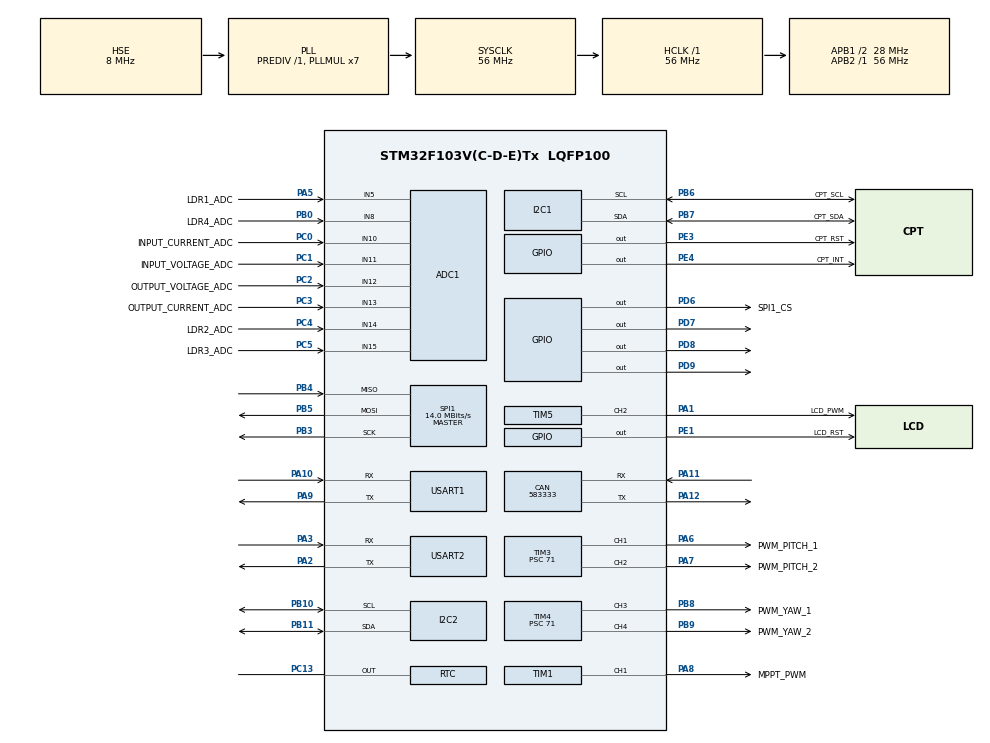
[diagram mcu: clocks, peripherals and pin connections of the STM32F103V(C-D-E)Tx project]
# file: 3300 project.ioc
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ADC1.Channel-10\#ChannelRegularConversion=ADC_CHANNEL_11
ADC1.Channel-11\#ChannelRegularConversion=ADC_CHANNEL_12
ADC1.Channel-12\#ChannelRegularConversion=ADC_CHANNEL_5
ADC1.Channel-13\#ChannelRegularConversion=ADC_CHANNEL_14
ADC1.Channel-14\#ChannelRegularConversion=ADC_CHANNEL_15
ADC1.Channel-15\#ChannelRegularConversion=ADC_CHANNEL_8
ADC1.Channel-2\#ChannelRegularConversion=ADC_CHANNEL_10
ADC1.Channel-3\#ChannelRegularConversion=ADC_CHANNEL_10
ADC1.Channel-4\#ChannelRegularConversion=ADC_CHANNEL_10
ADC1.Channel-5\#ChannelRegularConversion=ADC_CHANNEL_10
ADC1.Channel-6\#ChannelRegularConversion=ADC_CHANNEL_10
ADC1.Channel-7\#ChannelRegularConversion=ADC_CHANNEL_10
ADC1.Channel-8\#ChannelRegularConversion=ADC_CHANNEL_10
ADC1.Channel-9\#ChannelRegularConversion=ADC_CHANNEL_10
ADC1.ExternalTrigConv=ADC_SOFTWARE_START
ADC1.NbrOfConversion=14
ADC1.NbrOfConversionFlag=1
ADC1.Rank-10\#ChannelRegularConversion=9
ADC1.Rank-11\#ChannelRegularConversion=10
ADC1.Rank-12\#ChannelRegularConversion=11
ADC1.Rank-13\#ChannelRegularConversion=12
ADC1.Rank-14\#ChannelRegularConversion=13
ADC1.Rank-15\#ChannelRegularConversion=14
ADC1.Rank-2\#ChannelRegularConversion=1
ADC1.Rank-3\#ChannelRegularConversion=2
ADC1.Rank-4\#ChannelRegularConversion=3
ADC1.Rank-5\#ChannelRegularConversion=4
ADC1.Rank-6\#ChannelRegularConversion=5
ADC1.Rank-7\#ChannelRegularConversion=6
ADC1.Rank-8\#ChannelRegularConversion=7
ADC1.Rank-9\#ChannelRegularConversion=8
ADC1.SamplingTime-10\#ChannelRegularConversion=ADC_SAMPLETIME_28CYCLES_5
ADC1.SamplingTime-11\#ChannelRegularConversion=ADC_SAMPLETIME_1CYCLE_5
ADC1.SamplingTime-12\#ChannelRegularConversion=ADC_SAMPLETIME_1CYCLE_5
ADC1.SamplingTime-13\#ChannelRegularConversion=ADC_SAMPLETIME_1CYCLE_5
ADC1.SamplingTime-14\#ChannelRegularConversion=ADC_SAMPLETIME_1CYCLE_5
ADC1.SamplingTime-15\#ChannelRegularConversion=ADC_SAMPLETIME_1CYCLE_5
ADC1.SamplingTime-2\#ChannelRegularConversion=ADC_SAMPLETIME_1CYCLE_5
ADC1.SamplingTime-3\#ChannelRegularConversion=ADC_SAMPLETIME_1CYCLE_5
ADC1.SamplingTime-4\#ChannelRegularConversion=ADC_SAMPLETIME_1CYCLE_5
ADC1.SamplingTime-5\#ChannelRegularConversion=ADC_SAMPLETIME_1CYCLE_5
ADC1.SamplingTime-6\#ChannelRegularConversion=ADC_SAMPLETIME_1CYCLE_5
ADC1.SamplingTime-7\#ChannelRegularConversion=ADC_SAMPLETIME_1CYCLE_5
ADC1.SamplingTime-8\#ChannelRegularConversion=ADC_SAMPLETIME_1CYCLE_5
ADC1.SamplingTime-9\#ChannelRegularConversion=ADC_SAMPLETIME_1CYCLE_5
ADC1.master=1
CAN.CalculateBaudRate=583333
CAN.CalculateTimeBit=1714
CAN.CalculateTimeQuantum=571.4285714285714
Dma.ADC1.0.Direction=DMA_PERIPH_TO_MEMORY
Dma.ADC1.0.Instance=DMA1_Channel1
Dma.ADC1.0.MemDataAlignment=DMA_MDATAALIGN_HALFWORD
Dma.ADC1.0.MemInc=DMA_MINC_ENABLE
Dma.ADC1.0.Mode=DMA_CIRCULAR
Dma.ADC1.0.PeriphDataAlignment=DMA_PDATAALIGN_HALFWORD
Dma.ADC1.0.PeriphInc=DMA_PINC_DISABLE
Dma.ADC1.0.Priority=DMA_PRIORITY_LOW
Dma.Request0=ADC1
Mcu.Family=STM32F1
Mcu.Name=STM32F103V(C-D-E)Tx
Mcu.Package=LQFP100
NVIC.ADC1_2_IRQn=true\:0\:0\:false\:false\:true\:true\:true\:true
NVIC.DMA1_Channel1_IRQn=true\:0\:0\:false\:false\:true\:false\:true\:true
NVIC.PriorityGroup=NVIC_PRIORITYGROUP_4
NVIC.TIM1_CC_IRQn=true\:2\:0\:true\:false\:true\:true\:true\:true
OSC_IN.Mode=HSE-External-Oscillator
OSC_IN.Signal=RCC_OSC_IN
OSC_OUT.Mode=HSE-External-Oscillator
OSC_OUT.Signal=RCC_OSC_OUT
PA1.GPIO_Label=LCD_PWM
PA1.GPIO_Speed=GPIO_SPEED_FREQ_HIGH
PA1.Signal=S_TIM5_CH2
PA10.Mode=Asynchronous
PA10.Signal=USART1_RX
PA11.Mode=CAN_Activate
PA11.Signal=CAN_RX
PA12.Mode=CAN_Activate
PA12.Signal=CAN_TX
PA13.Mode=Serial_Wire
PA13.Signal=SYS_JTMS-SWDIO
PA14.Mode=Serial_Wire
PA14.Signal=SYS_JTCK-SWCLK
PA2.Mode=Asynchronous
PA2.Signal=USART2_TX
PA3.Mode=Asynchronous
PA3.Signal=USART2_RX
PA5.GPIO_Label=LDR1_ADC
PA5.Signal=ADCx_IN5
PA6.GPIO_Label=PWM_PITCH_1
PA6.Signal=S_TIM3_CH1
PA7.GPIO_Label=PWM_PITCH_2
PA7.Signal=S_TIM3_CH2
PA8.GPIO_Label=MPPT_PWM
PA8.GPIO_Speed=GPIO_SPEED_FREQ_HIGH
PA8.Signal=S_TIM1_CH1
PA9.Mode=Asynchronous
PA9.Signal=USART1_TX
PB0.GPIO_Label=LDR4_ADC
PB0.Signal=ADCx_IN8
PB10.Mode=I2C
PB10.Signal=I2C2_SCL
PB11.Mode=I2C
PB11.Signal=I2C2_SDA
PB3.Mode=Full_Duplex_Master
PB3.Signal=SPI1_SCK
PB4.Mode=Full_Duplex_Master
PB4.Signal=SPI1_MISO
PB5.Mode=Full_Duplex_Master
PB5.Signal=SPI1_MOSI
PB6.GPIO_Label=CPT_SCL
PB6.Mode=I2C
PB6.Signal=I2C1_SCL
PB7.GPIO_Label=CPT_SDA
PB7.Mode=I2C
PB7.Signal=I2C1_SDA
PB8.GPIO_Label=PWM_YAW_1
PB8.Signal=S_TIM4_CH3
PB9.GPIO_Label=PWM_YAW_2
PB9.Signal=S_TIM4_CH4
PC0.GPIO_Label=INPUT_CURRENT_ADC
PC0.Signal=ADCx_IN10
PC1.GPIO_Label=INPUT_VOLTAGE_ADC
PC1.Signal=ADCx_IN11
PC13-TAMPER-RTC.Mode=RTC OUT
PC13-TAMPER-RTC.Signal=RTC_OUT
PC2.GPIO_Label=OUTPUT_VOLTAGE_ADC
PC2.Signal=ADCx_IN12
PC3.GPIO_Label=OUTPUT_CURRENT_ADC
PC3.Signal=ADCx_IN13
PC4.GPIO_Label=LDR2_ADC
PC4.Signal=ADCx_IN14
PC5.GPIO_Label=LDR3_ADC
PC5.Signal=ADCx_IN15
PD6.GPIO_Label=SPI1_CS
PD6.Signal=GPIO_Output
PD7.Signal=GPIO_Output
PD8.Signal=GPIO_Output
PD9.Signal=GPIO_Output
PE1.GPIO_Label=LCD_RST
PE1.Signal=GPIO_Output
PE3.GPIO_Label=CPT_RST
PE3.Signal=GPIO_Output
PE4.GPIO_Label=CPT_INT
PE4.Signal=GPIO_Output
ProjectManager.HeapSize=0x200
ProjectManager.StackSize=0x400
ProjectManager.TargetToolchain=STM32CubeIDE
RCC.ADCPresc=RCC_ADCPCLK2_DIV4
RCC.AHBFreq_Value=56000000
RCC.APB1CLKDivider=RCC_HCLK_DIV2
RCC.APB1Freq_Value=28000000
RCC.APB1TimFreq_Value=56000000
RCC.APB2Freq_Value=56000000
RCC.APB2TimFreq_Value=56000000
RCC.HCLKFreq_Value=56000000
RCC.PLLMUL=RCC_PLL_MUL7
RCC.PLLSourceVirtual=RCC_PLLSOURCE_HSE
RCC.RTCClockSelection=RCC_RTCCLKSOURCE_HSE_DIV128
RCC.SYSCLKFreq_VALUE=56000000
RCC.SYSCLKSource=RCC_SYSCLKSOURCE_PLLCLK
RCC.USBFreq_Value=56000000
SH.ADCx_IN10.0=ADC1_IN10,IN10
SH.ADCx_IN10.1=ADC2_IN10
SH.ADCx_IN11.0=ADC1_IN11,IN11
SH.ADCx_IN12.0=ADC1_IN12,IN12
SH.ADCx_IN13.0=ADC1_IN13,IN13
SH.ADCx_IN14.0=ADC1_IN14,IN14
SH.ADCx_IN15.0=ADC1_IN15,IN15
SH.ADCx_IN5.0=ADC1_IN5,IN5
SH.ADCx_IN8.0=ADC1_IN8,IN8
SH.S_TIM1_CH1.0=TIM1_CH1,PWM Generation1 CH1
SH.S_TIM3_CH1.0=TIM3_CH1,PWM Generation1 CH1
SH.S_TIM3_CH2.0=TIM3_CH2,PWM Generation2 CH2
SH.S_TIM4_CH3.0=TIM4_CH3,PWM Generation3 CH3
SH.S_TIM4_CH4.0=TIM4_CH4,PWM Generation4 CH4
SH.S_TIM5_CH2.0=TIM5_CH2,PWM Generation2 CH2
SPI1.BaudRatePrescaler=SPI_BAUDRATEPRESCALER_4
SPI1.CalculateBaudRate=14.0 MBits/s
SPI1.Direction=SPI_DIRECTION_2LINES
SPI1.Mode=SPI_MODE_MASTER
SPI1.VirtualType=VM_MASTER
TIM1.Channel-Output\ Compare2\ No\ Output=TIM_CHANNEL_2
TIM1.Channel-PWM\ Generation1\ CH1=TIM_CHANNEL_1
TIM1.OCFastMode_PWM-PWM\ Generation1\ CH1=TIM_OCFAST_ENABLE
TIM1.OCMode_2=TIM_OCMODE_TIMING
TIM1.Period=99
TIM1.Prescaler=5
TIM1.Pulse-Output\ Compare2\ No\ Output=50
TIM1.TIM_MasterOutputTrigger=TIM_TRGO_RESET
TIM1.TIM_MasterSlaveMode=TIM_MASTERSLAVEMODE_DISABLE
TIM3.Channel-PWM\ Generation1\ CH1=TIM_CHANNEL_1
TIM3.Channel-PWM\ Generation2\ CH2=TIM_CHANNEL_2
TIM3.Period=99
TIM3.Prescaler=71
TIM3.Pulse-PWM\ Generation1\ CH1=0
TIM4.Channel-PWM\ Generation3\ CH3=TIM_CHANNEL_3
TIM4.Channel-PWM\ Generation4\ CH4=TIM_CHANNEL_4
TIM4.Period=99
TIM4.Prescaler=71
TIM4.Pulse-PWM\ Generation3\ CH3=0
TIM4.Pulse-PWM\ Generation4\ CH4=0
TIM5.Channel-PWM\ Generation2\ CH2=TIM_CHANNEL_2
USART1.VirtualMode=VM_ASYNC
USART2.VirtualMode=VM_ASYNC
VP_RTC_VS_RTC_Activate.Mode=RTC_Enabled
VP_RTC_VS_RTC_Calendar.Mode=RTC_Calendar
VP_TIM1_VS_ClockSourceINT.Mode=Internal
VP_TIM1_VS_no_output2.Mode=Output Compare2 No Output
VP_TIM2_VS_ClockSourceINT.Mode=Internal
VP_TIM3_VS_ClockSourceINT.Mode=Internal
VP_TIM4_VS_ClockSourceINT.Mode=Internal
VP_TIM5_VS_ClockSourceINT.Mode=Internal
board=custom

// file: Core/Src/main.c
/* USER CODE BEGIN Header */
/**
  ******************************************************************************
  * @file           : main.c
  * @brief          : Main program body
  ******************************************************************************
  * @attention
  *
  * Copyright (c) 2024 STMicroelectronics.
  * All rights reserved.
  *
  * This software is licensed under terms that can be found in the LICENSE file
  * in the root directory of this software component.
  * If no LICENSE file comes with this software, it is provided AS-IS.
  *
  ******************************************************************************
  */
/* USER CODE END Header */
#include "main.h"

/* USER CODE BEGIN Includes */
#include "mppt.h"
#include "solar_tracker.h"
#include "ssd1306.h"
#include "ssd1306_fonts.h"
/* USER CODE END Includes */

ADC_HandleTypeDef hadc1;
DMA_HandleTypeDef hdma_adc1;

CAN_HandleTypeDef hcan;

I2C_HandleTypeDef hi2c1;
I2C_HandleTypeDef hi2c2;

RTC_HandleTypeDef hrtc;

SPI_HandleTypeDef hspi1;

TIM_HandleTypeDef htim1;
TIM_HandleTypeDef htim2;
TIM_HandleTypeDef htim3;
TIM_HandleTypeDef htim4;
TIM_HandleTypeDef htim5;

UART_HandleTypeDef huart1;
UART_HandleTypeDef huart2;

/* USER CODE BEGIN PV */
uint32_t tickstart;
volatile uint16_t adc_data[14];
long long CUR_IN;
int16_t LDR_val[4];
/* USER CODE END PV */

void SystemClock_Config(void);
static void MX_GPIO_Init(void);
static void MX_DMA_Init(void);
static void MX_I2C1_Init(void);
static void MX_SPI1_Init(void);
static void MX_TIM2_Init(void);
static void MX_USART1_UART_Init(void);
static void MX_USART2_UART_Init(void);
static void MX_ADC1_Init(void);
static void MX_RTC_Init(void);
static void MX_TIM1_Init(void);
static void MX_TIM5_Init(void);
static void MX_CAN_Init(void);
static void MX_TIM3_Init(void);
static void MX_TIM4_Init(void);
static void MX_I2C2_Init(void);

int main(void)
{

  /* MCU Configuration--------------------------------------------------------*/

  /* Reset of all peripherals, Initializes the Flash interface and the Systick. */
  HAL_Init();

  /* Configure the system clock */
  SystemClock_Config();

  /* Initialize all configured peripherals */
  MX_GPIO_Init();
  MX_DMA_Init();
  MX_I2C1_Init();
  MX_SPI1_Init();
  MX_TIM2_Init();
  MX_USART1_UART_Init();
  MX_USART2_UART_Init();
  MX_ADC1_Init();
  MX_RTC_Init();
  MX_TIM1_Init();
  MX_TIM5_Init();
  MX_CAN_Init();
  MX_TIM3_Init();
  MX_TIM4_Init();
  MX_I2C2_Init();
  /* USER CODE BEGIN 2 */
  HAL_TIM_PWM_Start(&htim1, TIM_CHANNEL_1);
  HAL_TIM_PWM_Start(&htim3, TIM_CHANNEL_1);
  HAL_TIM_PWM_Start(&htim3, TIM_CHANNEL_2);
  HAL_TIM_PWM_Start(&htim4, TIM_CHANNEL_3);
  HAL_TIM_PWM_Start(&htim4, TIM_CHANNEL_4);
  HAL_TIM_OC_Start_IT(&htim1, TIM_CHANNEL_2);
  // TIM1->CCR1 = 5;
  // int counter = 0;
  // while (1) {
  //   TIM1->CCR1 = counter++;
  //   counter %= 30;
  // }
  ssd1306_Init();
  ssd1306_Fill(White);
  ssd1306_SetCursor(2,0);
  ssd1306_WriteString("ELEC3300 Solar", Font_6x8, Black);
  ssd1306_SetCursor(2, 18*2);
  ssd1306_WriteString("Group 12", Font_6x8, Black);
  ssd1306_UpdateScreen();
  HAL_Delay(1000);
  /* USER CODE END 2 */

  /* Infinite loop */
  /* USER CODE BEGIN WHILE */
  while (1)
  {
    HAL_ADC_Start_DMA(&hadc1, (uint32_t *)adc_data, 14);
    // HAL_Delay(2);
    // ssd1306_SetCursor(2, 18);
    // ssd1306_WriteString(message, Font_6x8, Black);
    // ssd1306_UpdateScreen();
    tickstart = HAL_GetTick();
    while ((HAL_GetTick() - tickstart) < 2)
    {
    }
    HAL_GPIO_WritePin(GPIOD, GPIO_PIN_7, GPIO_PIN_RESET);
    ssd1306_Fill(White);
    ssd1306_UpdateScreen();
    /* USER CODE END WHILE */

  }
}

void SystemClock_Config(void)
{
  RCC_OscInitTypeDef RCC_OscInitStruct = {0};
  RCC_ClkInitTypeDef RCC_ClkInitStruct = {0};
  RCC_PeriphCLKInitTypeDef PeriphClkInit = {0};

  /** Initializes the RCC Oscillators according to the specified parameters
  * in the RCC_OscInitTypeDef structure.
  */
  RCC_OscInitStruct.OscillatorType = RCC_OSCILLATORTYPE_HSE;
  RCC_OscInitStruct.HSEState = RCC_HSE_ON;
  RCC_OscInitStruct.HSEPredivValue = RCC_HSE_PREDIV_DIV1;
  RCC_OscInitStruct.HSIState = RCC_HSI_ON;
  RCC_OscInitStruct.PLL.PLLState = RCC_PLL_ON;
  RCC_OscInitStruct.PLL.PLLSource = RCC_PLLSOURCE_HSE;
  RCC_OscInitStruct.PLL.PLLMUL = RCC_PLL_MUL7;
  if (HAL_RCC_OscConfig(&RCC_OscInitStruct) != HAL_OK)
  {
    Error_Handler();
  }

  /** Initializes the CPU, AHB and APB buses clocks
  */
  RCC_ClkInitStruct.ClockType = RCC_CLOCKTYPE_HCLK|RCC_CLOCKTYPE_SYSCLK
                              |RCC_CLOCKTYPE_PCLK1|RCC_CLOCKTYPE_PCLK2;
  RCC_ClkInitStruct.SYSCLKSource = RCC_SYSCLKSOURCE_PLLCLK;
  RCC_ClkInitStruct.AHBCLKDivider = RCC_SYSCLK_DIV1;
  RCC_ClkInitStruct.APB1CLKDivider = RCC_HCLK_DIV2;
  RCC_ClkInitStruct.APB2CLKDivider = RCC_HCLK_DIV1;

  if (HAL_RCC_ClockConfig(&RCC_ClkInitStruct, FLASH_LATENCY_2) != HAL_OK)
  {
    Error_Handler();
  }
  PeriphClkInit.PeriphClockSelection = RCC_PERIPHCLK_RTC|RCC_PERIPHCLK_ADC;
  PeriphClkInit.RTCClockSelection = RCC_RTCCLKSOURCE_HSE_DIV128;
  PeriphClkInit.AdcClockSelection = RCC_ADCPCLK2_DIV4;
  if (HAL_RCCEx_PeriphCLKConfig(&PeriphClkInit) != HAL_OK)
  {
    Error_Handler();
  }
}

static void MX_ADC1_Init(void)
{

  ADC_ChannelConfTypeDef sConfig = {0};

  /** Common config
  */
  hadc1.Instance = ADC1;
  hadc1.Init.ScanConvMode = ADC_SCAN_ENABLE;
  hadc1.Init.ContinuousConvMode = DISABLE;
  hadc1.Init.DiscontinuousConvMode = DISABLE;
  hadc1.Init.ExternalTrigConv = ADC_SOFTWARE_START;
  hadc1.Init.DataAlign = ADC_DATAALIGN_RIGHT;
  hadc1.Init.NbrOfConversion = 14;
  if (HAL_ADC_Init(&hadc1) != HAL_OK)
  {
    Error_Handler();
  }

  /** Configure Regular Channel
  */
  sConfig.Channel = ADC_CHANNEL_10;
  sConfig.Rank = ADC_REGULAR_RANK_1;
  sConfig.SamplingTime = ADC_SAMPLETIME_1CYCLE_5;
  if (HAL_ADC_ConfigChannel(&hadc1, &sConfig) != HAL_OK)
  {
    Error_Handler();
  }

  /** Configure Regular Channel
  */
  sConfig.Rank = ADC_REGULAR_RANK_2;
  if (HAL_ADC_ConfigChannel(&hadc1, &sConfig) != HAL_OK)
  {
    Error_Handler();
  }

  /** Configure Regular Channel
  */
  sConfig.Rank = ADC_REGULAR_RANK_3;
  if (HAL_ADC_ConfigChannel(&hadc1, &sConfig) != HAL_OK)
  {
    Error_Handler();
  }

  /** Configure Regular Channel
  */
  sConfig.Rank = ADC_REGULAR_RANK_4;
  if (HAL_ADC_ConfigChannel(&hadc1, &sConfig) != HAL_OK)
  {
    Error_Handler();
  }

  /** Configure Regular Channel
  */
  sConfig.Rank = ADC_REGULAR_RANK_5;
  if (HAL_ADC_ConfigChannel(&hadc1, &sConfig) != HAL_OK)
  {
    Error_Handler();
  }

  /** Configure Regular Channel
  */
  sConfig.Rank = ADC_REGULAR_RANK_6;
  if (HAL_ADC_ConfigChannel(&hadc1, &sConfig) != HAL_OK)
  {
    Error_Handler();
  }

  /** Configure Regular Channel
  */
  sConfig.Rank = ADC_REGULAR_RANK_7;
  if (HAL_ADC_ConfigChannel(&hadc1, &sConfig) != HAL_OK)
  {
    Error_Handler();
  }

  /** Configure Regular Channel
  */
  sConfig.Rank = ADC_REGULAR_RANK_8;
  if (HAL_ADC_ConfigChannel(&hadc1, &sConfig) != HAL_OK)
  {
    Error_Handler();
  }

  /** Configure Regular Channel
  */
  sConfig.Channel = ADC_CHANNEL_11;
  sConfig.Rank = ADC_REGULAR_RANK_9;
  sConfig.SamplingTime = ADC_SAMPLETIME_28CYCLES_5;
  if (HAL_ADC_ConfigChannel(&hadc1, &sConfig) != HAL_OK)
  {
    Error_Handler();
  }

  /** Configure Regular Channel
  */
  sConfig.Channel = ADC_CHANNEL_12;
  sConfig.Rank = ADC_REGULAR_RANK_10;
  sConfig.SamplingTime = ADC_SAMPLETIME_1CYCLE_5;
  if (HAL_ADC_ConfigChannel(&hadc1, &sConfig) != HAL_OK)
  {
    Error_Handler();
  }

  /** Configure Regular Channel
  */
  sConfig.Channel = ADC_CHANNEL_5;
  sConfig.Rank = ADC_REGULAR_RANK_11;
  if (HAL_ADC_ConfigChannel(&hadc1, &sConfig) != HAL_OK)
  {
    Error_Handler();
  }

  /** Configure Regular Channel
  */
  sConfig.Channel = ADC_CHANNEL_14;
  sConfig.Rank = ADC_REGULAR_RANK_12;
  if (HAL_ADC_ConfigChannel(&hadc1, &sConfig) != HAL_OK)
  {
    Error_Handler();
  }

  /** Configure Regular Channel
  */
  sConfig.Channel = ADC_CHANNEL_15;
  sConfig.Rank = ADC_REGULAR_RANK_13;
  if (HAL_ADC_ConfigChannel(&hadc1, &sConfig) != HAL_OK)
  {
    Error_Handler();
  }

  /** Configure Regular Channel
  */
  sConfig.Channel = ADC_CHANNEL_8;
  sConfig.Rank = ADC_REGULAR_RANK_14;
  if (HAL_ADC_ConfigChannel(&hadc1, &sConfig) != HAL_OK)
  {
    Error_Handler();
  }

}

static void MX_CAN_Init(void)
{

  hcan.Instance = CAN1;
  hcan.Init.Prescaler = 16;
  hcan.Init.Mode = CAN_MODE_NORMAL;
  hcan.Init.SyncJumpWidth = CAN_SJW_1TQ;
  hcan.Init.TimeSeg1 = CAN_BS1_1TQ;
  hcan.Init.TimeSeg2 = CAN_BS2_1TQ;
  hcan.Init.TimeTriggeredMode = DISABLE;
  hcan.Init.AutoBusOff = DISABLE;
  hcan.Init.AutoWakeUp = DISABLE;
  hcan.Init.AutoRetransmission = DISABLE;
  hcan.Init.ReceiveFifoLocked = DISABLE;
  hcan.Init.TransmitFifoPriority = DISABLE;
  if (HAL_CAN_Init(&hcan) != HAL_OK)
  {
    Error_Handler();
  }

}

static void MX_I2C1_Init(void)
{

  hi2c1.Instance = I2C1;
  hi2c1.Init.ClockSpeed = 100000;
  hi2c1.Init.DutyCycle = I2C_DUTYCYCLE_2;
  hi2c1.Init.OwnAddress1 = 0;
  hi2c1.Init.AddressingMode = I2C_ADDRESSINGMODE_7BIT;
  hi2c1.Init.DualAddressMode = I2C_DUALADDRESS_DISABLE;
  hi2c1.Init.OwnAddress2 = 0;
  hi2c1.Init.GeneralCallMode = I2C_GENERALCALL_DISABLE;
  hi2c1.Init.NoStretchMode = I2C_NOSTRETCH_DISABLE;
  if (HAL_I2C_Init(&hi2c1) != HAL_OK)
  {
    Error_Handler();
  }

}

static void MX_I2C2_Init(void)
{

  hi2c2.Instance = I2C2;
  hi2c2.Init.ClockSpeed = 100000;
  hi2c2.Init.DutyCycle = I2C_DUTYCYCLE_2;
  hi2c2.Init.OwnAddress1 = 0;
  hi2c2.Init.AddressingMode = I2C_ADDRESSINGMODE_7BIT;
  hi2c2.Init.DualAddressMode = I2C_DUALADDRESS_DISABLE;
  hi2c2.Init.OwnAddress2 = 0;
  hi2c2.Init.GeneralCallMode = I2C_GENERALCALL_DISABLE;
  hi2c2.Init.NoStretchMode = I2C_NOSTRETCH_DISABLE;
  if (HAL_I2C_Init(&hi2c2) != HAL_OK)
  {
    Error_Handler();
  }

}

static void MX_RTC_Init(void)
{

  RTC_TimeTypeDef sTime = {0};
  RTC_DateTypeDef DateToUpdate = {0};
  RTC_AlarmTypeDef sAlarm = {0};

  /** Initialize RTC Only
  */
  hrtc.Instance = RTC;
  hrtc.Init.AsynchPrediv = RTC_AUTO_1_SECOND;
  hrtc.Init.OutPut = RTC_OUTPUTSOURCE_ALARM;
  if (HAL_RTC_Init(&hrtc) != HAL_OK)
  {
    Error_Handler();
  }

  /** Initialize RTC and set the Time and Date
  */
  sTime.Hours = 0x0;
  sTime.Minutes = 0x0;
  sTime.Seconds = 0x0;

  if (HAL_RTC_SetTime(&hrtc, &sTime, RTC_FORMAT_BCD) != HAL_OK)
  {
    Error_Handler();
  }
  DateToUpdate.WeekDay = RTC_WEEKDAY_MONDAY;
  DateToUpdate.Month = RTC_MONTH_JANUARY;
  DateToUpdate.Date = 0x1;
  DateToUpdate.Year = 0x0;

  if (HAL_RTC_SetDate(&hrtc, &DateToUpdate, RTC_FORMAT_BCD) != HAL_OK)
  {
    Error_Handler();
  }

  /** Enable the Alarm A
  */
  sAlarm.AlarmTime.Hours = 0x0;
  sAlarm.AlarmTime.Minutes = 0x0;
  sAlarm.AlarmTime.Seconds = 0x0;
  sAlarm.Alarm = RTC_ALARM_A;
  if (HAL_RTC_SetAlarm(&hrtc, &sAlarm, RTC_FORMAT_BCD) != HAL_OK)
  {
    Error_Handler();
  }

}

static void MX_SPI1_Init(void)
{

  /* SPI1 parameter configuration*/
  hspi1.Instance = SPI1;
  hspi1.Init.Mode = SPI_MODE_MASTER;
  hspi1.Init.Direction = SPI_DIRECTION_2LINES;
  hspi1.Init.DataSize = SPI_DATASIZE_8BIT;
  hspi1.Init.CLKPolarity = SPI_POLARITY_LOW;
  hspi1.Init.CLKPhase = SPI_PHASE_1EDGE;
  hspi1.Init.NSS = SPI_NSS_SOFT;
  hspi1.Init.BaudRatePrescaler = SPI_BAUDRATEPRESCALER_4;
  hspi1.Init.FirstBit = SPI_FIRSTBIT_MSB;
  hspi1.Init.TIMode = SPI_TIMODE_DISABLE;
  hspi1.Init.CRCCalculation = SPI_CRCCALCULATION_DISABLE;
  hspi1.Init.CRCPolynomial = 10;
  if (HAL_SPI_Init(&hspi1) != HAL_OK)
  {
    Error_Handler();
  }

}

static void MX_TIM1_Init(void)
{

  TIM_ClockConfigTypeDef sClockSourceConfig = {0};
  TIM_MasterConfigTypeDef sMasterConfig = {0};
  TIM_OC_InitTypeDef sConfigOC = {0};
  TIM_BreakDeadTimeConfigTypeDef sBreakDeadTimeConfig = {0};

  htim1.Instance = TIM1;
  htim1.Init.Prescaler = 5;
  htim1.Init.CounterMode = TIM_COUNTERMODE_UP;
  htim1.Init.Period = 99;
  htim1.Init.ClockDivision = TIM_CLOCKDIVISION_DIV1;
  htim1.Init.RepetitionCounter = 0;
  htim1.Init.AutoReloadPreload = TIM_AUTORELOAD_PRELOAD_DISABLE;
  if (HAL_TIM_Base_Init(&htim1) != HAL_OK)
  {
    Error_Handler();
  }
  sClockSourceConfig.ClockSource = TIM_CLOCKSOURCE_INTERNAL;
  if (HAL_TIM_ConfigClockSource(&htim1, &sClockSourceConfig) != HAL_OK)
  {
    Error_Handler();
  }
  if (HAL_TIM_PWM_Init(&htim1) != HAL_OK)
  {
    Error_Handler();
  }
  if (HAL_TIM_OC_Init(&htim1) != HAL_OK)
  {
    Error_Handler();
  }
  sMasterConfig.MasterOutputTrigger = TIM_TRGO_RESET;
  sMasterConfig.MasterSlaveMode = TIM_MASTERSLAVEMODE_DISABLE;
  if (HAL_TIMEx_MasterConfigSynchronization(&htim1, &sMasterConfig) != HAL_OK)
  {
    Error_Handler();
  }
  sConfigOC.OCMode = TIM_OCMODE_PWM1;
  sConfigOC.Pulse = 0;
  sConfigOC.OCPolarity = TIM_OCPOLARITY_HIGH;
  sConfigOC.OCNPolarity = TIM_OCNPOLARITY_HIGH;
  sConfigOC.OCFastMode = TIM_OCFAST_ENABLE;
  sConfigOC.OCIdleState = TIM_OCIDLESTATE_RESET;
  sConfigOC.OCNIdleState = TIM_OCNIDLESTATE_RESET;
  if (HAL_TIM_PWM_ConfigChannel(&htim1, &sConfigOC, TIM_CHANNEL_1) != HAL_OK)
  {
    Error_Handler();
  }
  sConfigOC.OCMode = TIM_OCMODE_TIMING;
  sConfigOC.Pulse = 50;
  sConfigOC.OCFastMode = TIM_OCFAST_DISABLE;
  if (HAL_TIM_OC_ConfigChannel(&htim1, &sConfigOC, TIM_CHANNEL_2) != HAL_OK)
  {
    Error_Handler();
  }
  sBreakDeadTimeConfig.OffStateRunMode = TIM_OSSR_DISABLE;
  sBreakDeadTimeConfig.OffStateIDLEMode = TIM_OSSI_DISABLE;
  sBreakDeadTimeConfig.LockLevel = TIM_LOCKLEVEL_OFF;
  sBreakDeadTimeConfig.DeadTime = 0;
  sBreakDeadTimeConfig.BreakState = TIM_BREAK_DISABLE;
  sBreakDeadTimeConfig.BreakPolarity = TIM_BREAKPOLARITY_HIGH;
  sBreakDeadTimeConfig.AutomaticOutput = TIM_AUTOMATICOUTPUT_DISABLE;
  if (HAL_TIMEx_ConfigBreakDeadTime(&htim1, &sBreakDeadTimeConfig) != HAL_OK)
  {
    Error_Handler();
  }
  HAL_TIM_MspPostInit(&htim1);

}

static void MX_TIM2_Init(void)
{

  TIM_ClockConfigTypeDef sClockSourceConfig = {0};
  TIM_MasterConfigTypeDef sMasterConfig = {0};

  htim2.Instance = TIM2;
  htim2.Init.Prescaler = 0;
  htim2.Init.CounterMode = TIM_COUNTERMODE_UP;
  htim2.Init.Period = 65535;
  htim2.Init.ClockDivision = TIM_CLOCKDIVISION_DIV1;
  htim2.Init.AutoReloadPreload = TIM_AUTORELOAD_PRELOAD_DISABLE;
  if (HAL_TIM_Base_Init(&htim2) != HAL_OK)
  {
    Error_Handler();
  }
  sClockSourceConfig.ClockSource = TIM_CLOCKSOURCE_INTERNAL;
  if (HAL_TIM_ConfigClockSource(&htim2, &sClockSourceConfig) != HAL_OK)
  {
    Error_Handler();
  }
  sMasterConfig.MasterOutputTrigger = TIM_TRGO_RESET;
  sMasterConfig.MasterSlaveMode = TIM_MASTERSLAVEMODE_DISABLE;
  if (HAL_TIMEx_MasterConfigSynchronization(&htim2, &sMasterConfig) != HAL_OK)
  {
    Error_Handler();
  }

}

static void MX_TIM3_Init(void)
{

  TIM_ClockConfigTypeDef sClockSourceConfig = {0};
  TIM_MasterConfigTypeDef sMasterConfig = {0};
  TIM_OC_InitTypeDef sConfigOC = {0};

  htim3.Instance = TIM3;
  htim3.Init.Prescaler = 71;
  htim3.Init.CounterMode = TIM_COUNTERMODE_UP;
  htim3.Init.Period = 99;
  htim3.Init.ClockDivision = TIM_CLOCKDIVISION_DIV1;
  htim3.Init.AutoReloadPreload = TIM_AUTORELOAD_PRELOAD_DISABLE;
  if (HAL_TIM_Base_Init(&htim3) != HAL_OK)
  {
    Error_Handler();
  }
  sClockSourceConfig.ClockSource = TIM_CLOCKSOURCE_INTERNAL;
  if (HAL_TIM_ConfigClockSource(&htim3, &sClockSourceConfig) != HAL_OK)
  {
    Error_Handler();
  }
  if (HAL_TIM_PWM_Init(&htim3) != HAL_OK)
  {
    Error_Handler();
  }
  sMasterConfig.MasterOutputTrigger = TIM_TRGO_RESET;
  sMasterConfig.MasterSlaveMode = TIM_MASTERSLAVEMODE_DISABLE;
  if (HAL_TIMEx_MasterConfigSynchronization(&htim3, &sMasterConfig) != HAL_OK)
  {
    Error_Handler();
  }
  sConfigOC.OCMode = TIM_OCMODE_PWM1;
  sConfigOC.Pulse = 0;
  sConfigOC.OCPolarity = TIM_OCPOLARITY_HIGH;
  sConfigOC.OCFastMode = TIM_OCFAST_DISABLE;
  if (HAL_TIM_PWM_ConfigChannel(&htim3, &sConfigOC, TIM_CHANNEL_1) != HAL_OK)
  {
    Error_Handler();
  }
  if (HAL_TIM_PWM_ConfigChannel(&htim3, &sConfigOC, TIM_CHANNEL_2) != HAL_OK)
  {
    Error_Handler();
  }
  HAL_TIM_MspPostInit(&htim3);

}

static void MX_TIM4_Init(void)
{

  TIM_ClockConfigTypeDef sClockSourceConfig = {0};
  TIM_MasterConfigTypeDef sMasterConfig = {0};
  TIM_OC_InitTypeDef sConfigOC = {0};

  htim4.Instance = TIM4;
  htim4.Init.Prescaler = 71;
  htim4.Init.CounterMode = TIM_COUNTERMODE_UP;
  htim4.Init.Period = 99;
  htim4.Init.ClockDivision = TIM_CLOCKDIVISION_DIV1;
  htim4.Init.AutoReloadPreload = TIM_AUTORELOAD_PRELOAD_DISABLE;
  if (HAL_TIM_Base_Init(&htim4) != HAL_OK)
  {
    Error_Handler();
  }
  sClockSourceConfig.ClockSource = TIM_CLOCKSOURCE_INTERNAL;
  if (HAL_TIM_ConfigClockSource(&htim4, &sClockSourceConfig) != HAL_OK)
  {
    Error_Handler();
  }
  if (HAL_TIM_PWM_Init(&htim4) != HAL_OK)
  {
    Error_Handler();
  }
  sMasterConfig.MasterOutputTrigger = TIM_TRGO_RESET;
  sMasterConfig.MasterSlaveMode = TIM_MASTERSLAVEMODE_DISABLE;
  if (HAL_TIMEx_MasterConfigSynchronization(&htim4, &sMasterConfig) != HAL_OK)
  {
    Error_Handler();
  }
  sConfigOC.OCMode = TIM_OCMODE_PWM1;
  sConfigOC.Pulse = 0;
  sConfigOC.OCPolarity = TIM_OCPOLARITY_HIGH;
  sConfigOC.OCFastMode = TIM_OCFAST_DISABLE;
  if (HAL_TIM_PWM_ConfigChannel(&htim4, &sConfigOC, TIM_CHANNEL_3) != HAL_OK)
  {
    Error_Handler();
  }
  if (HAL_TIM_PWM_ConfigChannel(&htim4, &sConfigOC, TIM_CHANNEL_4) != HAL_OK)
  {
    Error_Handler();
  }
  HAL_TIM_MspPostInit(&htim4);

}

static void MX_TIM5_Init(void)
{

  TIM_ClockConfigTypeDef sClockSourceConfig = {0};
  TIM_MasterConfigTypeDef sMasterConfig = {0};
  TIM_OC_InitTypeDef sConfigOC = {0};

  htim5.Instance = TIM5;
  htim5.Init.Prescaler = 0;
  htim5.Init.CounterMode = TIM_COUNTERMODE_UP;
  htim5.Init.Period = 65535;
  htim5.Init.ClockDivision = TIM_CLOCKDIVISION_DIV1;
  htim5.Init.AutoReloadPreload = TIM_AUTORELOAD_PRELOAD_DISABLE;
  if (HAL_TIM_Base_Init(&htim5) != HAL_OK)
  {
    Error_Handler();
  }
  sClockSourceConfig.ClockSource = TIM_CLOCKSOURCE_INTERNAL;
  if (HAL_TIM_ConfigClockSource(&htim5, &sClockSourceConfig) != HAL_OK)
  {
    Error_Handler();
  }
  if (HAL_TIM_PWM_Init(&htim5) != HAL_OK)
  {
    Error_Handler();
  }
  sMasterConfig.MasterOutputTrigger = TIM_TRGO_RESET;
  sMasterConfig.MasterSlaveMode = TIM_MASTERSLAVEMODE_DISABLE;
  if (HAL_TIMEx_MasterConfigSynchronization(&htim5, &sMasterConfig) != HAL_OK)
  {
    Error_Handler();
  }
  sConfigOC.OCMode = TIM_OCMODE_PWM1;
  sConfigOC.Pulse = 0;
  sConfigOC.OCPolarity = TIM_OCPOLARITY_HIGH;
  sConfigOC.OCFastMode = TIM_OCFAST_DISABLE;
  if (HAL_TIM_PWM_ConfigChannel(&htim5, &sConfigOC, TIM_CHANNEL_2) != HAL_OK)
  {
    Error_Handler();
  }
  HAL_TIM_MspPostInit(&htim5);

}

static void MX_USART1_UART_Init(void)
{

  huart1.Instance = USART1;
  huart1.Init.BaudRate = 115200;
  huart1.Init.WordLength = UART_WORDLENGTH_8B;
  huart1.Init.StopBits = UART_STOPBITS_1;
  huart1.Init.Parity = UART_PARITY_NONE;
  huart1.Init.Mode = UART_MODE_TX_RX;
  huart1.Init.HwFlowCtl = UART_HWCONTROL_NONE;
  huart1.Init.OverSampling = UART_OVERSAMPLING_16;
  if (HAL_UART_Init(&huart1) != HAL_OK)
  {
    Error_Handler();
  }

}

static void MX_USART2_UART_Init(void)
{

  huart2.Instance = USART2;
  huart2.Init.BaudRate = 115200;
  huart2.Init.WordLength = UART_WORDLENGTH_8B;
  huart2.Init.StopBits = UART_STOPBITS_1;
  huart2.Init.Parity = UART_PARITY_NONE;
  huart2.Init.Mode = UART_MODE_TX_RX;
  huart2.Init.HwFlowCtl = UART_HWCONTROL_NONE;
  huart2.Init.OverSampling = UART_OVERSAMPLING_16;
  if (HAL_UART_Init(&huart2) != HAL_OK)
  {
    Error_Handler();
  }

}

static void MX_DMA_Init(void)
{

  /* DMA controller clock enable */
  __HAL_RCC_DMA1_CLK_ENABLE();

  /* DMA interrupt init */
  /* DMA1_Channel1_IRQn interrupt configuration */
  HAL_NVIC_SetPriority(DMA1_Channel1_IRQn, 0, 0);
  HAL_NVIC_EnableIRQ(DMA1_Channel1_IRQn);

}

static void MX_GPIO_Init(void)
{
  GPIO_InitTypeDef GPIO_InitStruct = {0};

  /* GPIO Ports Clock Enable */
  __HAL_RCC_GPIOE_CLK_ENABLE();
  __HAL_RCC_GPIOC_CLK_ENABLE();
  __HAL_RCC_GPIOA_CLK_ENABLE();
  __HAL_RCC_GPIOB_CLK_ENABLE();
  __HAL_RCC_GPIOD_CLK_ENABLE();

  /*Configure GPIO pin Output Level */
  HAL_GPIO_WritePin(GPIOE, CPT_RST_Pin|CPT_INT_Pin|LCD_RST_Pin, GPIO_PIN_RESET);

  /*Configure GPIO pin Output Level */
  HAL_GPIO_WritePin(GPIOD, GPIO_PIN_8|GPIO_PIN_9|SPI1_CS_Pin|GPIO_PIN_7, GPIO_PIN_RESET);

  /*Configure GPIO pins : CPT_RST_Pin CPT_INT_Pin LCD_RST_Pin */
  GPIO_InitStruct.Pin = CPT_RST_Pin|CPT_INT_Pin|LCD_RST_Pin;
  GPIO_InitStruct.Mode = GPIO_MODE_OUTPUT_PP;
  GPIO_InitStruct.Pull = GPIO_NOPULL;
  GPIO_InitStruct.Speed = GPIO_SPEED_FREQ_LOW;
  HAL_GPIO_Init(GPIOE, &GPIO_InitStruct);

  /*Configure GPIO pin : INPUT_CURRENT_ADC_Pin */
  GPIO_InitStruct.Pin = INPUT_CURRENT_ADC_Pin;
  GPIO_InitStruct.Mode = GPIO_MODE_ANALOG;
  HAL_GPIO_Init(INPUT_CURRENT_ADC_GPIO_Port, &GPIO_InitStruct);

  /*Configure GPIO pins : PD8 PD9 SPI1_CS_Pin PD7 */
  GPIO_InitStruct.Pin = GPIO_PIN_8|GPIO_PIN_9|SPI1_CS_Pin|GPIO_PIN_7;
  GPIO_InitStruct.Mode = GPIO_MODE_OUTPUT_PP;
  GPIO_InitStruct.Pull = GPIO_NOPULL;
  GPIO_InitStruct.Speed = GPIO_SPEED_FREQ_LOW;
  HAL_GPIO_Init(GPIOD, &GPIO_InitStruct);

}

/* USER CODE BEGIN 4 */
void HAL_ADC_ConvCpltCallback(ADC_HandleTypeDef* hadc) {
  asm("NOP");
  LDR_val[0] = adc_data[10] * 1.63f;
  LDR_val[1] = adc_data[11];
  LDR_val[2] = adc_data[12];
  LDR_val[3] = adc_data[13] * 0.5f;
  // CUR_IN = 4096;
  CUR_IN = 0;
  for (int i = 0; i < 8; ++i) {
    // CUR_IN = CUR_IN < adc_data[i] ? CUR_IN : adc_data[i];
    CUR_IN += adc_data[i];
  }
  CUR_IN /= 8;
  SOLAR_TRACKER_track(LDR_val[0] + LDR_val[1], LDR_val[2] + LDR_val[3], &(TIM3->CCR1), &(TIM3->CCR2));
  SOLAR_TRACKER_track(LDR_val[1] + LDR_val[2], LDR_val[0] + LDR_val[3], &(TIM4->CCR3), &(TIM4->CCR4));
  MPPT_calculate(adc_data[8], CUR_IN, adc_data[9], 0, &(TIM1->CCR1));
}
void HAL_TIM_OC_DelayElapsedCallback(TIM_HandleTypeDef *htim) {
  // if (htim->Instance == TIM1) {
  //   HAL_NVIC_DisableIRQ(TIM1_CC_IRQn);
  //   HAL_GPIO_TogglePin(GPIOE, GPIO_PIN_1);
  //   HAL_ADC_Start_DMA(&hadc1, (uint32_t *)adc_data, 14);
  //   HAL_NVIC_EnableIRQ(TIM1_CC_IRQn);
  // }
}
/* USER CODE END 4 */

void Error_Handler(void)
{
  /* USER CODE BEGIN Error_Handler_Debug */
  /* User can add his own implementation to report the HAL error return state */
  __disable_irq();
  while (1)
  {
    HAL_Delay(1);
  }
  /* USER CODE END Error_Handler_Debug */
}
